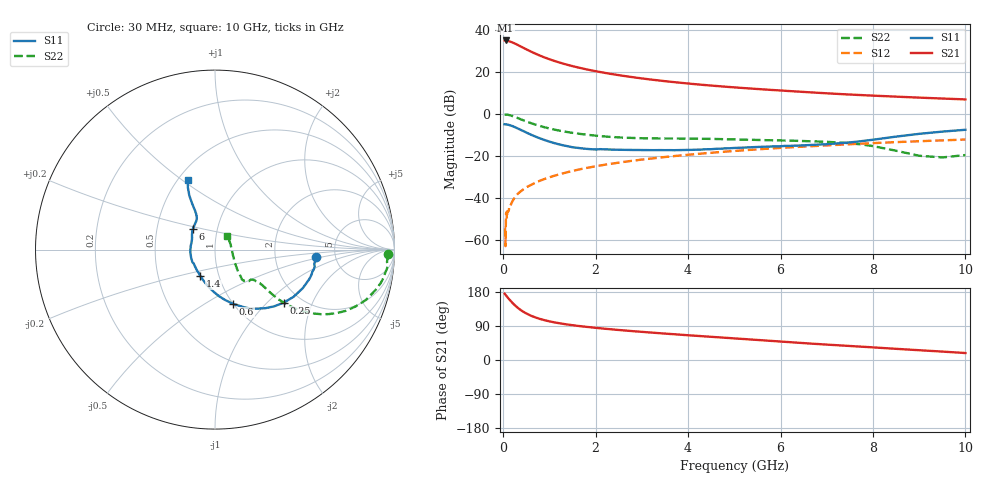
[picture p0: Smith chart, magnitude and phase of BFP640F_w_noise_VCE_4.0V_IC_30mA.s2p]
! Infineon Technologies  Discrete & RF Semiconductors
! BFP640F
! VCE =  4.0 V,  IC =  30 mA
! Common Emitter S-Parameters:  Apr 2013
# GHz  S  MA  R  50
!  f  S11  S21  S12  S22
! GHz  MAG  ANG  MAG  ANG  MAG  ANG  MAG  ANG
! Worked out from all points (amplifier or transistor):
!   99 points, 30 MHz to 10 GHz, reference 50 ohm
!   highest |S21| = 35.0 dB at 50 MHz (marker M1)
!   |S21| within 3 dB of that: start of sweep to 391.5 MHz
!   unconditionally stable (mu >= 1): 1.835 GHz to end of sweep
!   at 350 MHz: K = 0.50, MSG = 35.0 dB, |S12| = -37.5 dB
!   at 3.5 GHz: K = 1.06, MAG = 16.6 dB, |S12| = -20.6 dB
!   at 10 GHz: K = 1.04, MAG = 8.3 dB, |S12| = -12.2 dB
!   lowest NFmin = 1.02 dB at 450 MHz
!   S11 on the Smith chart (normalised r, x): 30 MHz: 3.55, -0.43; 250 MHz: 1.64, -1.27; 600 MHz: 1.00, -0.67; 1.4 GHz: 0.82, -0.25; 6 GHz: 0.76, +0.18; 10 GHz: 0.56, +0.53
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0.03  0.5661 -4.2  56.31 175.0  0.0019 81.7  0.9621 -1.6
0.05  0.5588 -7.9  56.35 172.1  0.0007 80.2  0.9606 -4.1
0.06  0.563 -9.7  56.06 170.3  0.0041 73.7  0.9668 -5.3
0.14  0.5375 -22.2  53.27 158.7  0.0058 75.0  0.9287 -13.3
0.2  0.5106 -31.0  50.45 150.7  0.0083 78.8  0.8869 -18.4
0.25  0.4844 -37.5  47.69 144.7  0.0102 78.2  0.8464 -21.9
0.3  0.4568 -43.8  44.94 139.2  0.0119 74.0  0.8061 -25.0
0.4  0.4044 -54.4  39.46 130.0  0.0148 73.3  0.7276 -29.6
0.5  0.3588 -63.4  34.62 122.8  0.0177 72.6  0.6602 -32.7
0.6  0.3192 -71.5  30.58 116.9  0.0202 72.2  0.6025 -34.9
0.7  0.2866 -78.6  27.2 112.2  0.023 72.1  0.5538 -36.3
0.9  0.2369 -91.3  22.06 104.9  0.0282 71.7  0.4778 -37.7
1.1  0.2018 -103.0  18.42 99.5  0.0333 71.3  0.4227 -38.0
1.4  0.1689 -118.9  14.69 93.5  0.041 70.6  0.3669 -37.7
1.7  0.1505 -133.7  12.2 88.8  0.0487 69.8  0.3292 -36.9
2.4  0.1404 -161.6  8.724 80.3  0.0663 67.2  0.2793 -37.9
3.4  0.1369 171.4  6.203 70.6  0.0911 62.9  0.2589 -41.0
5.1  0.1553 145.4  4.208 56.2  0.1328 54.2  0.2446 -46.1
6  0.1693 136.1  3.612 48.7  0.1544 49.2  0.2328 -47.4
6.7  0.1821 127.4  3.238 42.9  0.1703 45.3  0.2213 -47.7
8.5  0.2869 116.4  2.577 29.5  0.212 35.2  0.1321 -33.2
10  0.4177 111.3  2.214 18.4  0.2445 26.5  0.1042 48.4
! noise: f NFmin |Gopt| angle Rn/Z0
0.45  1.02  0.21  -173  0.07
0.9  1.03  0.22  -168  0.07
1.5  1.05  0.23  -162  0.08
1.9  1.08  0.24  -156  0.08
2.4  1.11  0.24  -146  0.09
3.5  1.19  0.25  -137  0.1
5.5  1.38  0.26  -119  0.14
10  1.83  0.45  -83  0.47
